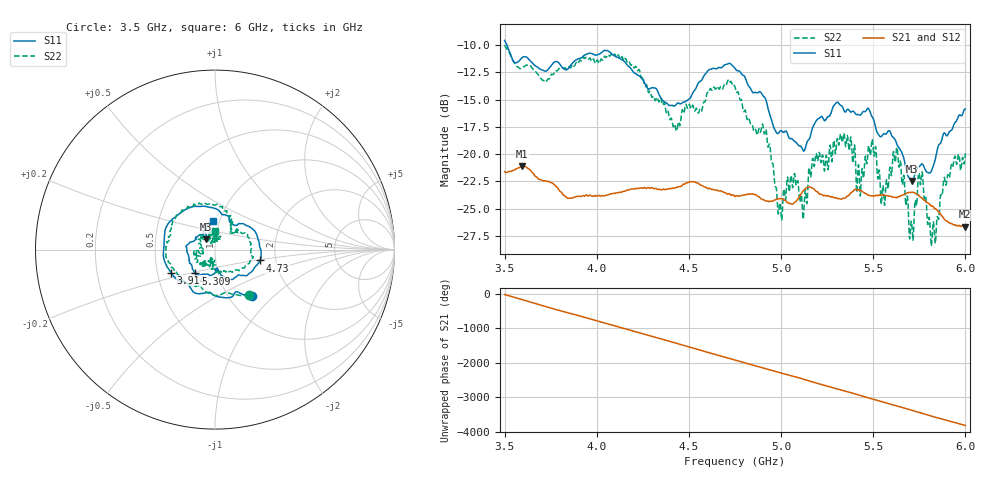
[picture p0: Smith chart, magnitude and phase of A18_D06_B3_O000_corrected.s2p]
! Created with skrf 1.9.0 (http://scikit-rf.org).
# Hz S RI R 50.0
!freq ReS11 ImS11 ReS21 ImS21 ReS12 ImS12 ReS22 ImS22
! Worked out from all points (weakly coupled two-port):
!   1601 points, 3.5 GHz to 6 GHz, reference 50 ohm
!   highest |S21| = -21.12 dB at 3.594 GHz (marker M1); lowest = -26.7 dB at 5.997 GHz (marker M2)
!   lowest |S11| = -22.4 dB at 5.711 GHz (marker M3), VSWR 1.16, Z = 45 + j5.14 ohm
!   |S11| at or under -10 dB: 3.513 GHz to end of sweep
!   |S22| runs from -28.4 to -10.0 dB; largest |S21 - S12| = 0.00098
!   S11 on the Smith chart (normalised r, x): 3.5 GHz: 1.28, -0.75; 3.914 GHz: 0.59, -0.16; 4.73 GHz: 1.65, -0.21; 5.309 GHz: 0.78, -0.21; 6 GHz: 0.93, +0.31
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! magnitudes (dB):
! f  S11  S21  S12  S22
! 3.5 GHz  -9.6  -21.6  -21.6  -10.0
! 3.594 GHz  -11.2  -21.1  -21.1  -12.1
! 3.914 GHz  -11.2  -23.9  -23.8  -11.4
! 3.917 GHz  -11.1  -23.9  -23.8  -11.4
! 4.334 GHz  -14.4  -23.2  -23.2  -15.1
! 4.427 GHz  -15.5  -23.1  -23.1  -17.5
! 4.73 GHz  -11.8  -23.8  -23.7  -13.4
! 4.75 GHz  -12.1  -23.9  -23.8  -13.9
! 4.911 GHz  -14.8  -24.2  -24.2  -18.1
! 4.994 GHz  -17.9  -24.1  -24.0  -24.5
! 5.064 GHz  -18.7  -24.6  -24.5  -23.0
! 5.128 GHz  -19.6  -23.2  -23.2  -23.7
! 5.167 GHz  -17.8  -23.1  -23.1  -20.9
! 5.309 GHz  -15.3  -24.1  -24.0  -18.9
! 5.42 GHz  -16.4  -23.3  -23.3  -21.0
! 5.584 GHz  -17.8  -23.8  -23.8  -22.4
! 5.636 GHz  -19.3  -23.9  -23.8  -20.7
! 5.711 GHz  -22.4  -23.5  -23.4  -26.8
! 5.755 GHz  -21.1  -23.9  -23.8  -22.7
! 5.827 GHz  -21.0  -24.8  -24.8  -26.2
! 5.997 GHz  -15.9  -26.7  -26.6  -20.5
! 6 GHz  -15.9  -26.6  -26.6  -19.9
